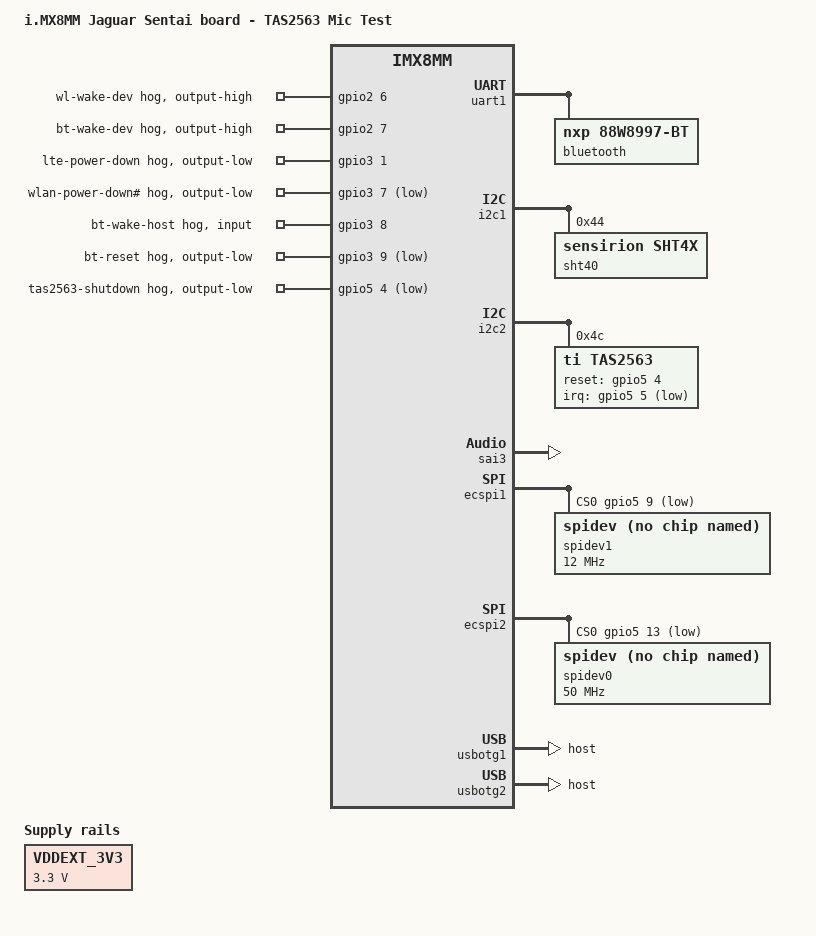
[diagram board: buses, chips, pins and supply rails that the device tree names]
// SPDX-License-Identifier: (GPL-2.0 OR MIT)
/*
 * Copyright 2020 NXP
 * 
 * Test configuration for TAS2563 with integrated microphone inputs
 * 
 * HARDWARE CHANGES:
 * - Microphones moved from i.MX8MM PDM interface to TAS2563 PDM inputs
 * - Original: SAI1_MCLK (PDM_CLK) and SAI1_RXD0 (PDM_D0) → i.MX8MM MICFIL
 * - Test HW: TAS2563 PDMCLK (pin 9) and PDMD (pin 24) → TAS2563 PDM interface
 * - Two microphones in parallel: one on rising edge, one on falling edge
 * - Audio path: Mics → TAS2563 PDM → TAS2563 DSP → SAI3 → i.MX8MM
 */

#include "freescale/imx8mm-evk.dts"
#include <dt-bindings/gpio/gpio.h>
#include <dt-bindings/leds/common.h>

/ {
        model = "i.MX8MM Jaguar Sentai board - TAS2563 Mic Test";

	// Regulators
	regulator-vddext {
		compatible = "regulator-fixed";
		regulator-name = "VDDEXT_3V3";
		regulator-min-microvolt = <3300000>;
		regulator-max-microvolt = <3300000>;
	};

	sound-tas2563 {
                compatible = "simple-audio-card";
                simple-audio-card,name = "tas2563-audio";
                simple-audio-card,format = "i2s";
                simple-audio-card,frame-master = <&cpudai2>;
                simple-audio-card,bitclock-master = <&cpudai2>;
                
                // Audio routing for TAS2563 with integrated microphones
                simple-audio-card,widgets =
                        "Microphone", "TAS2563 Mic1",
                        "Microphone", "TAS2563 Mic2",
                        "Speaker", "TAS2563 Speaker";
                        
                simple-audio-card,routing =
                        "TAS2563 Speaker", "Speaker",
                        "TAS2563 Mic1", "Microphone Bias",
                        "TAS2563 Mic2", "Microphone Bias";

                cpudai2: simple-audio-card,cpu {
                        sound-dai = <&sai3>;
                        dai-tdm-slot-num = <2>;
                        dai-tdm-slot-width = <32>;
                };

                simple-audio-card,codec {
                        sound-dai = <&tas2563>;
                        clocks = <&clk IMX8MM_CLK_SAI3_ROOT>;
                };
        };

	sound-wm8524 {
		status = "disabled";
	};

	sound-ak4458 {
		status = "disabled";
	};

	sound-spdif {
		status = "disabled";
	};

	sound-bt-sco {
		status = "disabled";
	};

	sw-keys {
                compatible = "gpio-keys";
		status = "enabled";

                sw1: key-act {
                        label = "Key Act";
                        linux,code = <BTN_SELECT>;
                        gpios = <&gpio3 6 (GPIO_ACTIVE_LOW | GPIO_PULL_UP)>;
			interrupt-parent = <&gpio3>;
			interrupt = <6 IRQ_TYPE_EDGE_FALLING>;
                };
	};
};

&iomuxc {
        pinctrl-names = "default";
	pinctrl-0 = <&pinctrl_hog>;

	// TODO: Break these out better?
	pinctrl_hog: hoggrp {
		fsl,pins = <
			MX8MM_IOMUXC_SD1_DATA4_GPIO2_IO6	0x140  // WL_WAKE_DEV
			MX8MM_IOMUXC_SD1_DATA5_GPIO2_IO7	0x140  // BT_WAKE_DEV
			MX8MM_IOMUXC_SD1_DATA6_GPIO2_IO8	0x000  // LTE_RESET
			MX8MM_IOMUXC_NAND_CE0_B_GPIO3_IO1	0x140  // FUL_CARD_POWER_OFF#
                        MX8MM_IOMUXC_NAND_DATA01_GPIO3_IO7      0x140  // WIFI_PD#
			MX8MM_IOMUXC_NAND_DATA02_GPIO3_IO8	0x140  // BT_WAKE_HOST
                        MX8MM_IOMUXC_NAND_DATA03_GPIO3_IO9      0x140  // BT_RST#
			MX8MM_IOMUXC_SAI1_RXD4_GPIO4_IO6	0x140  // SLMB_0
                        MX8MM_IOMUXC_SAI1_RXD7_GPIO4_IO9        0x140  // LED_ENABLE
                        MX8MM_IOMUXC_SAI1_TXFS_GPIO4_IO10       0x140  // CODEC_IRQ#
                        MX8MM_IOMUXC_SAI2_RXC_GPIO4_IO22        0x140  // ZB_INT
                        MX8MM_IOMUXC_SPDIF_RX_GPIO5_IO4         0x140  // CODEC_SD#
                        MX8MM_IOMUXC_SD1_STROBE_GPIO2_IO11      0x140  // ZB_RST#
		>;
	};

        pinctrl_ecspi1: ecspi1grp {
                fsl,pins = <
			MX8MM_IOMUXC_ECSPI1_SS0_GPIO5_IO9	0x13
                        MX8MM_IOMUXC_ECSPI1_SCLK_ECSPI1_SCLK	0x13
                        MX8MM_IOMUXC_ECSPI1_MISO_ECSPI1_MISO	0x13
                        MX8MM_IOMUXC_ECSPI1_MOSI_ECSPI1_MOSI	0x13
                >;
        };

        pinctrl_ecspi2: ecspi2grp {
                fsl,pins = <
			MX8MM_IOMUXC_ECSPI2_SS0_GPIO5_IO13	0x96
                        MX8MM_IOMUXC_ECSPI2_SCLK_ECSPI2_SCLK	0x96
                        MX8MM_IOMUXC_ECSPI2_MOSI_ECSPI2_MOSI	0x96
			MX8MM_IOMUXC_ECSPI2_MISO_ECSPI2_MISO	0x96
			MX8MM_IOMUXC_SAI3_RXC_GPIO4_IO29	0x96  // RADAR_IRQ
			MX8MM_IOMUXC_SAI3_RXFS_GPIO4_IO28	0x96 // RADAR_RST
                >;
        };

        // TAS2563 Enhanced Configuration with Microphone Support
        pinctrl_sai3: sai3grp {
                fsl,pins = <
                        MX8MM_IOMUXC_SAI3_TXFS_SAI3_TX_SYNC     0xd6   // Frame sync
                        MX8MM_IOMUXC_SAI3_TXC_SAI3_TX_BCLK      0xd6   // Bit clock
                        MX8MM_IOMUXC_SAI3_MCLK_SAI3_MCLK        0xd6   // Master clock
                        MX8MM_IOMUXC_SAI3_TXD_SAI3_TX_DATA0     0xd6   // Transmit data (to codec)
                        MX8MM_IOMUXC_SAI3_RXD_SAI3_RX_DATA0     0xd6   // Receive data (from codec/mics)
                        MX8MM_IOMUXC_SPDIF_EXT_CLK_GPIO5_IO5    0xd6   // Audio codec interrupt
                >;
        };

        pinctrl_uart1: uart1grp {
                fsl,pins = <
                        MX8MM_IOMUXC_UART1_RXD_UART1_DCE_RX     0x140
                        MX8MM_IOMUXC_UART1_TXD_UART1_DCE_TX     0x140
                        MX8MM_IOMUXC_UART3_TXD_UART1_DCE_RTS_B  0x140
                        MX8MM_IOMUXC_UART3_RXD_UART1_DCE_CTS_B  0x140
                >;
        };
};

&uart1 { /* BT */
        pinctrl-names = "default";
        pinctrl-0 = <&pinctrl_uart1>;
        assigned-clocks = <&clk IMX8MM_CLK_UART1>;
        assigned-clock-parents = <&clk IMX8MM_SYS_PLL1_80M>;
        fsl,uart-has-rtscts;
        status = "okay";

        bluetooth {
                compatible = "nxp,88w8997-bt";
		fw-init-baudrate = <3000000>;
        };
};

&uart3 {
	status = "disabled";
};

&gpio2 {
	wl-wake-dev-hog {
		gpio-hog;
		gpios = <6 GPIO_ACTIVE_HIGH>;
		output-high;
		line-name = "wl-wake-dev";
	};
	bt-wake-dev-hog {
		gpio-hog;
		gpios = <7 GPIO_ACTIVE_HIGH>;
		output-high;
		line-name = "bt-wake-dev";
	};
};

&gpio3 {
	lte-power-down-hog {
		gpio-hog;
		gpios = <1 GPIO_ACTIVE_HIGH>;
		output-low;
		line-name = "lte-power-down";
	};

	wlan-power-down-hog {
		gpio-hog;
		gpios = <7 GPIO_ACTIVE_LOW>;
		output-low;
		line-name = "wlan-power-down#";
	};
	bt-wake-host-hog {
		gpio-hog;
		gpios = <8 GPIO_ACTIVE_HIGH>;
		input;
		line-name = "bt-wake-host";
	};
	bt-reset-hog {
		gpio-hog;
		gpios = <9 GPIO_ACTIVE_LOW>;
		output-low;
		line-name = "bt-reset";
	};
};

&gpio5 {
       audio-shutdown-hog {
		gpio-hog;
		gpios = <4 GPIO_ACTIVE_LOW>;
		output-low;
		line-name = "tas2563-shutdown";
       };
};

&fec1 {
        status = "disabled";
};

&i2c1 {
	sht40: sht40@44 {
		compatible = "sensirion,sht4x";
                reg = <0x44>;
		status = "okay";
	};
};

&i2c2 {
        ptn5110: tcpc@50 {
                status = "disabled";
	};

	// TAS2563 with Enhanced PDM Microphone Support
        tas2563: tas2563@4C {
                #sound-dai-cells = <0>;
                compatible = "ti,tas2563";
                reg = <0x4C>;
                ti,channels = <1>; /* channel number */
                ti,reset-gpio = <&gpio5 4 GPIO_ACTIVE_HIGH>;
                ti,irq-gpio = <&gpio5 5 GPIO_ACTIVE_LOW>;
                
                // I2S Configuration (TAS2563 to i.MX8MM SAI3)
                ti,asi-format = <0>; /* 0, i2S; 1, DSP;  */
                ti,left-slot = <0>; /* <left slot number> */
                ti,right-slot = <1>; /* <right slot number> */
                ti,imon-slot-no = <0>; /* <current sense slot number> */
                ti,vmon-slot-no = <2>; /* <current voltage slot number> */
                ti,echo-ref = <2>;
                ti,bypass-tmax = <1>; /* 0, not bypass; 1, bypass */
                ti,i2s-bits = <32>;
                
                // PDM Microphone Configuration (Hardware: PDMCLK pin 9, PDMD pin 24)
                ti,mic-mode = <1>; /* Enable microphone input mode */
                ti,mic-bias-enable = <1>; /* Enable microphone bias */
                ti,mic-gain = <0x10>; /* Microphone input gain */
                ti,pdm-edge = <3>; /* Both rising and falling edge for dual mics */
                ti,pdm-clk-rate = <3072000>; /* PDM clock rate (3.072 MHz) */
                ti,pdm-data-width = <16>; /* PDM data width */
                
                // Microphone routing - two mics on same data line
                ti,mic-left-edge = <0>; /* Left mic on rising edge */
                ti,mic-right-edge = <1>; /* Right mic on falling edge */
                
                status = "okay";
        };
};

// Enhanced SAI3 configuration for bidirectional audio (playback + capture)
&sai3 {
	pinctrl-names = "default";
	pinctrl-0 = <&pinctrl_sai3>;
	assigned-clocks = <&clk IMX8MM_CLK_SAI3>;
	assigned-clock-parents = <&clk IMX8MM_AUDIO_PLL1_OUT>;
	assigned-clock-rates = <12288000>;
	fsl,sai-mclk-direction-output;
	fsl,sai-synchronous-rx;  /* Enable receive capability */
	status = "okay";
};

&sai1 {
	status = "disabled";  /* Disable since we're not using PDM */
};

&mipi_dsi {
       status = "disabled";
};

&spdif1 {
       status = "disabled";
};

&pcie0 {
       status = "disabled";
};

// 802.15.4
&ecspi1 {
	#address-cells = <1>;
	#size-cells = <0>;
	pinctrl-names = "default";
	pinctrl-0 = <&pinctrl_ecspi1>;
	cs-gpios = <&gpio5 9 GPIO_ACTIVE_LOW>;
        fsl,spi-num-chipselects = <1>;
	status = "okay";

        spidev1: spi@0 {
		compatible = "rohm,dh2228fv";
                spi-max-frequency = <12000000>;
                reg = <0>;
        };
};

// BGT 60TR13C E6327 radar
&ecspi2 {
	#address-cells = <1>;
	#size-cells = <0>;
	pinctrl-names = "default";
	pinctrl-0 = <&pinctrl_ecspi2>;
	cs-gpios = <&gpio5 13 GPIO_ACTIVE_LOW>;
        fsl,spi-num-chipselects = <1>;
	status = "okay";

        spidev0: spi@0 {
		compatible = "rohm,dh2228fv";
                spi-max-frequency = <50000000>;
                reg = <0>;
        };
};

&flexspi {
	status = "disabled";
};

// USB-C port
&usbotg1 {
	dr_mode = "host";
        status = "okay";
};

// Cellular modem
&usbotg2 {
	dr_mode = "host";
        status = "okay";
};
